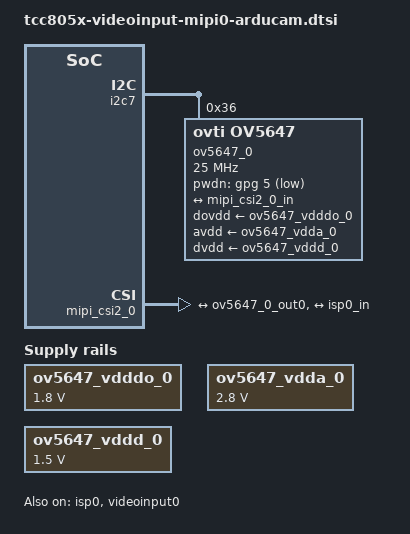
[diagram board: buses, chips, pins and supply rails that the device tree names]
/ {
	ov5647_vdddo_0: fixedregulator@0 {
		compatible = "regulator-fixed";
		regulator-name = "ov5647_vdddo";
		regulator-min-microvolt = <1800000>;
		regulator-max-microvolt = <1800000>;
		enable-active-high;
		regulator-always-on;
	};

	ov5647_vdda_0: fixedregulator@1 {
		compatible = "regulator-fixed";
		regulator-name = "ov5647_vdda";
		regulator-min-microvolt = <2800000>;
		regulator-max-microvolt = <2800000>;
		enable-active-high;
		regulator-always-on;
	};

	ov5647_vddd_0: fixedregulator@2 {
		compatible = "regulator-fixed";
		regulator-name = "ov5647_vddd";
		regulator-min-microvolt = <1500000>;
		regulator-max-microvolt = <1500000>;
		enable-active-high;
		regulator-always-on;
	};

	ov5647_clk_0: ov5647_clk {
		compatible = "fixed-clock";
		#clock-cells = <1>;
		clock-frequency = <25000000>;
	};
};

&i2c7 {
	status = "okay";
	ov5647_0@36 {
		compatible = "ovti,ov5647";
		status = "okay";
		reg = <0x36>;

		clocks = <&ov5647_clk_0 200>;
		clock-names = "xclk";
		clock-frequency = <25000000>;

		dovdd-supply = <&ov5647_vdddo_0>;		// 1.8v
		avdd-supply = <&ov5647_vdda_0>;			// 2.8v
		dvdd-supply = <&ov5647_vddd_0>;			// 1.5v

		pwdn-gpios = <&gpg 5 GPIO_ACTIVE_LOW>;

		ports {
			#address-cells = <1>;
			#size-cells = <0>;
			port@0 {
				reg = <0>;
				ov5647_0_out0: endpoint@0 {
					remote-endpoint = <&mipi_csi2_0_in>;
					io-direction = "output";
					channel = <0>;

					clock-lanes = <0>;
					data-lanes = <1 2>;
					clock-noncontinuous;
					link-frequencies =
						/bits/ 64 <297000000>;
				};
			};
		};
	};
};

&mipi_csi2_0 {
	status = "okay";
	ports {
		#address-cells = <1>;
		#size-cells = <0>;
		
		port@0 {
			reg = <0>;
			mipi_csi2_0_in: endpoint {
				remote-endpoint = <&ov5647_0_out0>;
				io-direction    = "input";
				num-channel     = <4>;
				/*
				* 0: CH0 only, no data interleave
				* 1: DT only
				* 2: VC only
				* 3: VC and DT
				*/
				interleave-mode = <0>;
				hs-settle = <13>;
				data-lanes = <1 2>;
				};
		};
		port@1 {
			reg = <1>;
			mipi_csi2_0_out0: endpoint {
				remote-endpoint = <&isp0_in>;
				io-direction	= "output";
				channel		= <0>;
				/*
				 * 0: Single pixel mode
				 * 1: Dual pixel mode (RAW8/10/12, YUV422)
				 * 2: Quad pixel mode (RAW8/10/12)
				 * 3: Invalid
				 */
				pixel-mode = <0>;
			};
		};
		port@2 {
			reg = <2>;
			mipi_csi2_0_out1: endpoint {
				io-direction	= "output";
				channel		= <1>;
				pixel-mode = <0>;
			};
		};
		port@3 {
			reg = <3>;
			mipi_csi2_0_out2: endpoint {
				io-direction	= "output";
				channel		= <2>;
				pixel-mode = <0>;
			};
		};
		port@4 {
			reg = <4>;
			mipi_csi2_0_out3: endpoint {
				io-direction	= "output";
				channel		= <3>;
				pixel-mode = <0>;
			};
		};
    };
};

&isp0 {
	status = "okay";
	mem_share = <1>;
	/*
	 * 0: RGGB
	 * 1: RCCB (ISP0 only)
	 * 2: RCCC (ISP0 only)
	 * 3: RGBIR (ISP0 only)
	 */
	cfa = <0>;

	/*
	 * Crop output image (X, Y)
	 * X: The number of left pixel. It will also crop X pixels of right.
	 * Y: The number of top pixel. It will also crop Y pixels of bottom.
	 * The default value is (8, 8).
	 */
	out_win_crop = <4 8>;

	ports {
		#address-cells = <1>;
		#size-cells = <0>;
		port@0 {
			reg = <0>;
			isp0_in: endpoint {
				remote-endpoint = <&mipi_csi2_0_out0>;
				io-direction	= "input";
			};
		};
		port@1 {
			reg = <1>;
			isp0_out: endpoint {
				remote-endpoint	= <&videoinput0_in>;
				io-direction	= "output";
			};
		};
	};
};

&videoinput0 {
	status		= "okay";
	cifport		= <&cifport		5>;
	/* memory-region
	 *  - [0]: parking guideline
	 *  - [1]: deinterlacing by viqe
	 *  - [2]: preview
	 *  - [3]: last frame
	 */
	memory-region	= <0
			   0
			   &pmap_rearcamera
			   0>;
	port {
		videoinput0_in: endpoint {
			remote-endpoint	= <&isp0_out>;
			io-direction	= "input";
			stream-enable	= <1>;	// VIN_CTRL.SE
			flush-vsync	= <1>;	// VIN_MISC.FVS
		};
	};
};
